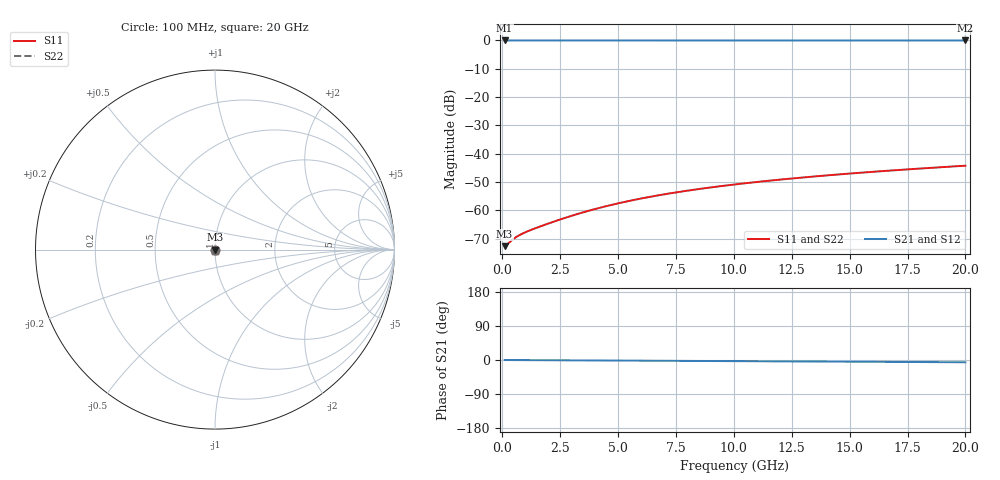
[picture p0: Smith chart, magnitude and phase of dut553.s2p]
! Touchstone file exported from HFSS 2026.1.0
!  File:  C:/ffzhzh/LocalFiles/Ansys_Project_Files/temp_train_TSV_553_1783024343_4048.aedt
!  Generated:  04:34:19 AM Jul  3, 2026
!  Design:  TSV
!  Project:  temp_train_TSV_553_1783024343_4048
! Variables:
!  h_bsmrdl = 2um
!  h_ox = 20um
!  h_rdl = 5um
!  h_sub = 61.97um
!  h_tmrdl = 5um
!  h_tsv = 61.97um
!  h_via = 3um
!  l_bsmrdl = 300um
!  l_sub = 412.2um
!  l_tmrdl = 200um
!  m_sub = 200um
!  pitch = 23.37um
!  r_tsv = 6.1um
!  s_tmrdl = 10um
!  w_bsmrdl = 18um
!  w_sub = 500um
!  w_tmrdl = 12um
!  x_tsv_center1 = 206um
!  x_tsv_center2 = 524um
!  x_tsv_center3 = 736um
!  x_tsv_center4 = 1054um
!  x_tsv_center5 = 1266um
!  x_tsv_center6 = 1584um
# GHz S MA R 50.000000
! Terminal data exported
! Port[1] = TSV1_1_T1
! Port[2] = TSV1_1_T2
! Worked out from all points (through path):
!   200 points, 100 MHz to 20 GHz, reference 50 ohm
!   highest |S21| = 0.00 dB at 100 MHz (marker M1); lowest = 0.0 dB at 20 GHz (marker M2)
!   lowest |S11| = -72.6 dB at 100 MHz (marker M3), VSWR 1.00, Z = 50 + j0.00169 ohm
!   |S11| at or under -10 dB: start of sweep to end of sweep
!   |S22| runs from -72.6 to -44.2 dB; largest |S21 - S12| = 4e-15
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0.1  0.0002332 4.2  0.9998 -0.0  0.9998 -0.0  0.0002332 4.2
! Gamma 0 0 0 0
! Port Impedance 50 0 50 0
0.2  0.0002492 6.8  0.9998 -0.1  0.9998 -0.1  0.0002492 6.8
0.5  0.0003166 4.4  0.9997 -0.2  0.9997 -0.2  0.0003166 4.4
0.6  0.0003379 1.9  0.9997 -0.2  0.9997 -0.2  0.0003379 1.9
0.8  0.0003765 -3.8  0.9996 -0.3  0.9996 -0.3  0.0003765 -3.8
1  0.0004114 -9.4  0.9996 -0.3  0.9996 -0.3  0.0004114 -9.4
1.5  0.0004959 -21.2  0.9995 -0.5  0.9995 -0.5  0.0004959 -21.2
2.2  0.0006276 -32.8  0.9995 -0.7  0.9995 -0.7  0.0006276 -32.8
2.9  0.00078 -40.8  0.9994 -0.9  0.9994 -0.9  0.00078 -40.8
3.5  0.0009251 -45.8  0.9993 -1.1  0.9993 -1.1  0.0009251 -45.8
4.3  0.001135 -51.0  0.9993 -1.3  0.9993 -1.3  0.001135 -51.0
5.1  0.001358 -55.1  0.9992 -1.5  0.9992 -1.5  0.001358 -55.1
5.9  0.001591 -58.5  0.9991 -1.8  0.9991 -1.8  0.001591 -58.5
6.8  0.001861 -61.6  0.9991 -2.1  0.9991 -2.1  0.001861 -61.6
7.6  0.002106 -64.0  0.999 -2.3  0.999 -2.3  0.002106 -64.0
8.4  0.002354 -66.1  0.9989 -2.5  0.9989 -2.5  0.002354 -66.1
10.1  0.002888 -69.7  0.9989 -3.0  0.9989 -3.0  0.002888 -69.7
11.7  0.003397 -72.4  0.9988 -3.5  0.9988 -3.5  0.003397 -72.4
13.4  0.003944 -74.7  0.9987 -4.0  0.9987 -4.0  0.003944 -74.7
15  0.004465 -76.5  0.9986 -4.5  0.9986 -4.5  0.004465 -76.5
16.7  0.005027 -78.1  0.9985 -5.0  0.9985 -5.0  0.005027 -78.1
20  0.006144 -80.7  0.9984 -6.0  0.9984 -6.0  0.006144 -80.7
